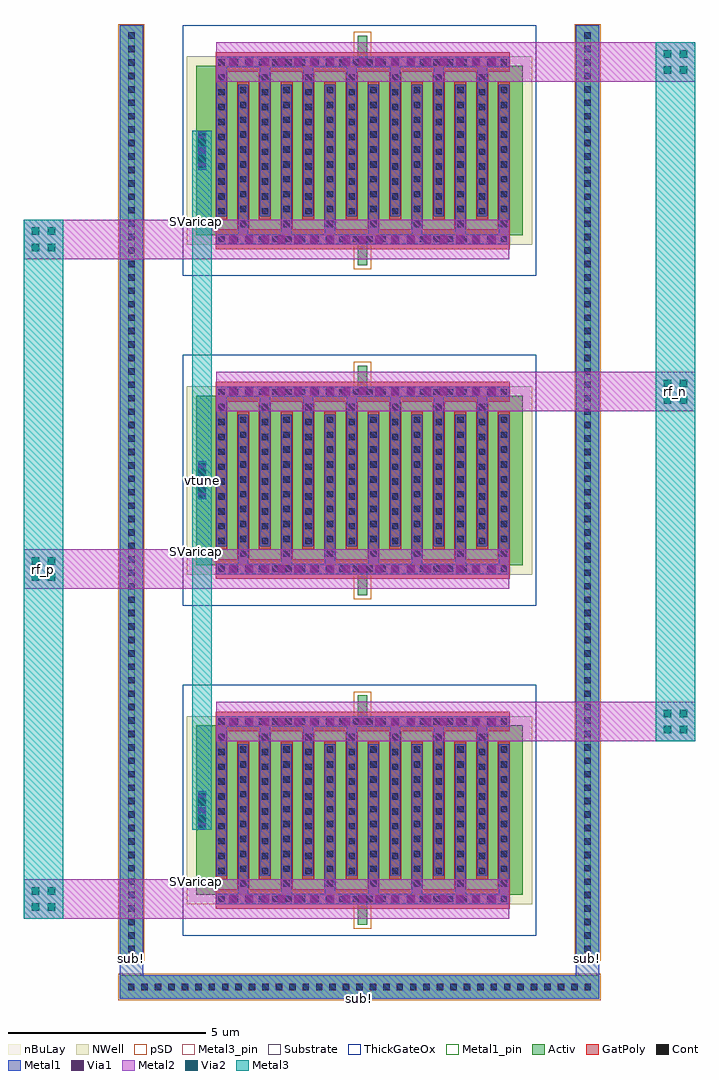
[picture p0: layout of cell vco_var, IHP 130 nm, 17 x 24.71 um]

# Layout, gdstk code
import gdstk
lib = gdstk.Library(unit=1e-6, precision=1e-09)
def R(c, l, rs):  # rectangles x0, y0, x1, y1
    for r in rs: c.add(gdstk.rectangle(r[:2], r[2:], *l))
def A(c, l, x, y, w, h, nx, ny, dx, dy):  # array of equal rectangles
    R(c, l, [(x+i*dx, y+j*dy, x+i*dx+w, y+j*dy+h) for i in range(nx) for j in range(ny)])
def P(c, l, *ps):  # polygons
    for p in ps: c.add(gdstk.Polygon(p, *l))
Activ = (1, 0)
GatPoly = (5, 0)
Cont = (6, 0)
Metal1 = (8, 0)
Metal1_pin = (8, 2)
Metal2 = (10, 0)
pSD = (14, 0)
Via1 = (19, 0)
Via2 = (29, 0)
Metal3 = (30, 0)
Metal3_pin = (30, 2)
NWell = (31, 0)
nBuLay = (32, 0)
Substrate = (40, 0)
ThickGateOx = (44, 0)

vco_var = lib.new_cell('vco_var')
A(vco_var, Activ, 0.24, 0.24, 8.27, 4.29, 1, 3, 0, 8.35)
R(vco_var, Activ, [(-1.7,-2.39,10.45,-1.79), (-1.7,-1.39,-1.1,22.26), (9.85,-1.39,10.45,22.26), (4.335,-0.52,4.575,0.24), (4.335,4.53,4.575,5.29), (4.335,7.83,4.575,8.59), (4.335,12.88,4.575,13.64), (4.335,16.18,4.575,16.94), (4.335,21.23,4.575,21.99)])
A(vco_var, GatPoly, 1.28, 0.39, 0.3, 3.74, 7, 3, 1.1, 8.35)
A(vco_var, GatPoly, 0.73, 0.64, 0.3, 3.74, 7, 3, 1.1, 8.35)
R(vco_var, GatPoly, [(0.73,-0.11,8.18,0.39), (0.73,4.38,8.18,4.88), (0.73,8.24,8.18,8.74), (0.73,12.73,8.18,13.23), (0.73,16.59,8.18,17.09), (0.73,21.08,8.18,21.58)])
A(vco_var, Cont, -1.485, -2.17, 0.16, 0.16, 35, 1, 0.34, 0)
A(vco_var, Cont, -1.48, -1.205, 0.16, 0.16, 1, 69, 0, 0.34)
A(vco_var, Cont, 10.07, -1.205, 0.16, 0.16, 1, 69, 0, 0.34)
A(vco_var, Cont, 0.8, 0.06, 0.16, 0.16, 11, 2, 0.34, 4.49)
A(vco_var, Cont, 4.545, 0.06, 0.16, 0.16, 10, 2, 0.34, 4.49)
A(vco_var, Cont, 1.35, 0.45, 0.16, 0.16, 7, 3, 1.1, 0.375)
A(vco_var, Cont, 0.8, 0.77, 0.16, 0.16, 7, 3, 1.1, 0.375)
A(vco_var, Cont, 1.35, 1.58, 0.16, 0.16, 7, 3, 1.1, 0.375)
A(vco_var, Cont, 0.8, 1.9, 0.16, 0.16, 7, 3, 1.1, 0.375)
A(vco_var, Cont, 0.31, 1.955, 0.16, 0.16, 1, 3, 0, 0.35)
A(vco_var, Cont, 1.35, 2.71, 0.16, 0.16, 7, 3, 1.1, 0.375)
A(vco_var, Cont, 0.8, 3.03, 0.16, 0.16, 7, 3, 1.1, 0.375)
A(vco_var, Cont, 1.35, 3.84, 0.16, 0.16, 7, 2, 1.1, 4.96)
A(vco_var, Cont, 0.8, 4.16, 0.16, 0.16, 7, 2, 1.1, 4.96)
A(vco_var, Cont, 0.8, 8.41, 0.16, 0.16, 11, 2, 0.34, 4.49)
A(vco_var, Cont, 4.545, 8.41, 0.16, 0.16, 10, 2, 0.34, 4.49)
A(vco_var, Cont, 1.35, 9.175, 0.16, 0.16, 7, 2, 1.1, 0.375)
A(vco_var, Cont, 0.8, 9.495, 0.16, 0.16, 7, 2, 1.1, 0.375)
A(vco_var, Cont, 1.35, 9.93, 0.16, 0.16, 7, 3, 1.1, 0.375)
A(vco_var, Cont, 0.8, 10.25, 0.16, 0.16, 7, 3, 1.1, 0.375)
A(vco_var, Cont, 0.31, 10.305, 0.16, 0.16, 1, 3, 0, 0.35)
A(vco_var, Cont, 1.35, 11.06, 0.16, 0.16, 7, 3, 1.1, 0.375)
A(vco_var, Cont, 0.8, 11.38, 0.16, 0.16, 7, 3, 1.1, 0.375)
A(vco_var, Cont, 1.35, 12.19, 0.16, 0.16, 7, 2, 1.1, 4.96)
A(vco_var, Cont, 0.8, 12.51, 0.16, 0.16, 7, 2, 1.1, 4.96)
A(vco_var, Cont, 0.8, 16.76, 0.16, 0.16, 11, 2, 0.34, 4.49)
A(vco_var, Cont, 4.545, 16.76, 0.16, 0.16, 10, 2, 0.34, 4.49)
A(vco_var, Cont, 1.35, 17.525, 0.16, 0.16, 7, 2, 1.1, 0.375)
A(vco_var, Cont, 0.8, 17.845, 0.16, 0.16, 7, 2, 1.1, 0.375)
A(vco_var, Cont, 1.35, 18.28, 0.16, 0.16, 7, 3, 1.1, 0.375)
A(vco_var, Cont, 0.8, 18.6, 0.16, 0.16, 7, 3, 1.1, 0.375)
A(vco_var, Cont, 0.31, 18.655, 0.16, 0.16, 1, 3, 0, 0.35)
A(vco_var, Cont, 1.35, 19.41, 0.16, 0.16, 7, 3, 1.1, 0.375)
A(vco_var, Cont, 0.8, 19.73, 0.16, 0.16, 7, 3, 1.1, 0.375)
A(vco_var, Cont, 1.35, 20.54, 0.16, 0.16, 7, 1, 1.1, 0)
A(vco_var, Cont, 0.8, 20.86, 0.16, 0.16, 7, 1, 1.1, 0)
R(vco_var, Cont, [(7.95,0.06,8.11,0.22), (7.95,4.55,8.11,4.71), (7.95,8.41,8.11,8.57), (7.95,12.9,8.11,13.06), (7.95,16.76,8.11,16.92), (7.95,21.25,8.11,21.41)])
P(vco_var, Metal1, [(0.29,1.905),(0.29,2.035),(0.285,2.035),(0.285,2.735),(0.29,2.735),(0.29,2.865),(0.49,2.865),(0.49,2.735),(0.495,2.735),(0.495,2.035),(0.49,2.035),(0.49,1.905)],
  [(0.75,0.01),(0.75,0.27),(1.3,0.27),(1.3,4.05),(1.56,4.05),(1.56,0.27),(2.4,0.27),(2.4,4.05),(2.66,4.05),(2.66,0.27),(3.5,0.27),(3.5,4.05),(3.76,4.05),(3.76,0.27),(4.6,0.27),(4.6,4.05),(4.86,4.05),(4.86,0.27),(5.7,0.27),(5.7,4.05),(5.96,4.05),(5.96,0.27),(6.8,0.27),(6.8,4.05),(7.06,4.05),(7.06,0.27),(7.9,0.27),(7.9,4.05),(8.16,4.05),(8.16,0.01)],
  [(0.75,0.72),(0.75,4.76),(8.16,4.76),(8.16,4.5),(7.61,4.5),(7.61,0.72),(7.35,0.72),(7.35,4.5),(6.51,4.5),(6.51,0.72),(6.25,0.72),(6.25,4.5),(5.41,4.5),(5.41,0.72),(5.15,0.72),(5.15,4.5),(4.31,4.5),(4.31,0.72),(4.05,0.72),(4.05,4.5),(3.21,4.5),(3.21,0.72),(2.95,0.72),(2.95,4.5),(2.11,4.5),(2.11,0.72),(1.85,0.72),(1.85,4.5),(1.01,4.5),(1.01,0.72)],
  [(0.29,10.255),(0.29,10.385),(0.285,10.385),(0.285,11.085),(0.29,11.085),(0.29,11.215),(0.49,11.215),(0.49,11.085),(0.495,11.085),(0.495,10.385),(0.49,10.385),(0.49,10.255)],
  [(0.75,8.36),(0.75,8.62),(1.3,8.62),(1.3,12.4),(1.56,12.4),(1.56,8.62),(2.4,8.62),(2.4,12.4),(2.66,12.4),(2.66,8.62),(3.5,8.62),(3.5,12.4),(3.76,12.4),(3.76,8.62),(4.6,8.62),(4.6,12.4),(4.86,12.4),(4.86,8.62),(5.7,8.62),(5.7,12.4),(5.96,12.4),(5.96,8.62),(6.8,8.62),(6.8,12.4),(7.06,12.4),(7.06,8.62),(7.9,8.62),(7.9,12.4),(8.16,12.4),(8.16,8.36)],
  [(0.75,9.07),(0.75,13.11),(8.16,13.11),(8.16,12.85),(7.61,12.85),(7.61,9.07),(7.35,9.07),(7.35,12.85),(6.51,12.85),(6.51,9.07),(6.25,9.07),(6.25,12.85),(5.41,12.85),(5.41,9.07),(5.15,9.07),(5.15,12.85),(4.31,12.85),(4.31,9.07),(4.05,9.07),(4.05,12.85),(3.21,12.85),(3.21,9.07),(2.95,9.07),(2.95,12.85),(2.11,12.85),(2.11,9.07),(1.85,9.07),(1.85,12.85),(1.01,12.85),(1.01,9.07)],
  [(0.29,18.605),(0.29,18.735),(0.285,18.735),(0.285,19.435),(0.29,19.435),(0.29,19.565),(0.49,19.565),(0.49,19.435),(0.495,19.435),(0.495,18.735),(0.49,18.735),(0.49,18.605)],
  [(0.75,16.71),(0.75,16.97),(1.3,16.97),(1.3,20.75),(1.56,20.75),(1.56,16.97),(2.4,16.97),(2.4,20.75),(2.66,20.75),(2.66,16.97),(3.5,16.97),(3.5,20.75),(3.76,20.75),(3.76,16.97),(4.6,16.97),(4.6,20.75),(4.86,20.75),(4.86,16.97),(5.7,16.97),(5.7,20.75),(5.96,20.75),(5.96,16.97),(6.8,16.97),(6.8,20.75),(7.06,20.75),(7.06,16.97),(7.9,16.97),(7.9,20.75),(8.16,20.75),(8.16,16.71)],
  [(0.75,17.42),(0.75,21.46),(8.16,21.46),(8.16,21.2),(7.61,21.2),(7.61,17.42),(7.35,17.42),(7.35,21.2),(6.51,21.2),(6.51,17.42),(6.25,17.42),(6.25,21.2),(5.41,21.2),(5.41,17.42),(5.15,17.42),(5.15,21.2),(4.31,21.2),(4.31,17.42),(4.05,17.42),(4.05,21.2),(3.21,21.2),(3.21,17.42),(2.95,17.42),(2.95,21.2),(2.11,21.2),(2.11,17.42),(1.85,17.42),(1.85,21.2),(1.01,21.2),(1.01,17.42)],
  [(-1.7,-2.39),(-1.7,22.26),(-1.1,22.26),(-1.1,-1.79),(9.85,-1.79),(9.85,22.26),(10.45,22.26),(10.45,-2.39)])
A(vco_var, Metal1_pin, 0.29, 1.915, 0.2, 0.94, 1, 3, 0, 8.35)
R(vco_var, Metal1_pin, [(-1.7,-2.39,10.45,-1.79), (-1.485,-2.17,10.235,-2.01), (-1.48,-1.205,-1.32,22.075), (10.07,-1.205,10.23,22.075), (0.75,0.01,8.16,0.27), (0.75,4.5,8.16,4.76), (0.75,8.36,8.16,8.62), (0.75,12.85,8.16,13.11), (0.75,16.71,8.16,16.97), (0.75,21.2,8.16,21.46)])
A(vco_var, Metal2, -4.125, -0.36, 12.285, 1, 1, 3, 0, 8.35)
A(vco_var, Metal2, 0.29, 2.02, 0.2, 0.73, 1, 3, 0, 8.35)
A(vco_var, Metal2, 0.75, 4.13, 12.125, 1, 1, 3, 0, 8.35)
R(vco_var, pSD, [(-1.73,-2.42,10.48,-1.76), (-1.73,-1.42,-1.07,22.29), (9.82,-1.42,10.48,22.29), (4.235,-0.62,4.675,0.14), (4.235,4.63,4.675,5.39), (4.235,7.73,4.675,8.49), (4.235,12.98,4.675,13.74), (4.235,16.08,4.675,16.84), (4.235,21.33,4.675,22.09)])
A(vco_var, Via1, 1.08, 0.045, 0.19, 0.19, 17, 2, 0.41, 4.49)
A(vco_var, Via1, 1.08, 8.395, 0.19, 0.19, 17, 2, 0.41, 4.49)
A(vco_var, Via1, 1.08, 16.745, 0.19, 0.19, 17, 2, 0.41, 4.49)
R(vco_var, Via1, [(0.295,2.085,0.485,2.275), (0.295,2.495,0.485,2.685), (0.295,10.435,0.485,10.625), (0.295,10.845,0.485,11.035), (0.295,18.785,0.485,18.975), (0.295,19.195,0.485,19.385)])
R(vco_var, Via2, [(-3.925,-0.16,-3.735,0.03), (-3.515,-0.16,-3.325,0.03), (-3.925,0.25,-3.735,0.44), (-3.515,0.25,-3.325,0.44), (0.295,2.085,0.485,2.275), (0.295,2.495,0.485,2.685), (12.075,4.33,12.265,4.52), (12.485,4.33,12.675,4.52), (12.075,4.74,12.265,4.93), (12.485,4.74,12.675,4.93), (-3.925,8.19,-3.735,8.38), (-3.515,8.19,-3.325,8.38), (-3.925,8.6,-3.735,8.79), (-3.515,8.6,-3.325,8.79), (0.295,10.435,0.485,10.625), (0.295,10.845,0.485,11.035), (12.075,12.68,12.265,12.87), (12.485,12.68,12.675,12.87), (12.075,13.09,12.265,13.28), (12.485,13.09,12.675,13.28), (-3.925,16.54,-3.735,16.73), (-3.515,16.54,-3.325,16.73), (-3.925,16.95,-3.735,17.14), (-3.515,16.95,-3.325,17.14), (0.295,18.785,0.485,18.975), (0.295,19.195,0.485,19.385), (12.075,21.03,12.265,21.22), (12.485,21.03,12.675,21.22), (12.075,21.44,12.265,21.63), (12.485,21.44,12.675,21.63)])
R(vco_var, Metal3, [(-4.125,-0.36,-3.125,17.34), (0.14,1.885,0.64,19.585), (11.875,4.13,12.875,21.83)])
R(vco_var, Metal3_pin, [(-4.125,-0.36,-3.125,17.34), (0.14,1.885,0.64,19.585), (11.875,4.13,12.875,21.83)])
A(vco_var, NWell, 0, 0, 8.75, 4.77, 1, 3, 0, 8.35)
A(vco_var, nBuLay, 0.24, 0.24, 8.27, 4.29, 1, 3, 0, 8.35)
R(vco_var, Substrate, [(-1.7,-2.39,10.45,-1.79), (-1.7,-1.39,-1.1,22.26), (9.85,-1.39,10.45,22.26)])
A(vco_var, ThickGateOx, -0.1, -0.79, 8.95, 6.35, 1, 3, 0, 8.35)
vco_var.add(gdstk.Label('SVaricap', (0.24,0.59), layer=63, texttype=0))
vco_var.add(gdstk.Label('SVaricap', (0.24,8.94), layer=63, texttype=0))
vco_var.add(gdstk.Label('SVaricap', (0.24,17.29), layer=63, texttype=0))
vco_var.add(gdstk.Label('sub!', (4.375,-2.38), layer=63, texttype=0))
vco_var.add(gdstk.Label('sub!', (-1.4,-1.38), layer=63, texttype=0))
vco_var.add(gdstk.Label('sub!', (10.15,-1.38), layer=63, texttype=0))
vco_var.add(gdstk.Label('rf_p', (-3.625,8.49), layer=30, texttype=25))
vco_var.add(gdstk.Label('rf_n', (12.375,12.98), layer=30, texttype=25))
vco_var.add(gdstk.Label('vtune', (0.39,10.735), layer=30, texttype=25))
vco_var.add(gdstk.Label('sub!', (4.375,-2.38), layer=40, texttype=0))
vco_var.add(gdstk.Label('sub!', (-1.4,-1.38), layer=40, texttype=0))
vco_var.add(gdstk.Label('sub!', (10.15,-1.38), layer=40, texttype=0))
vco_var.add(gdstk.Label('VSS', (4.375,-2.09), layer=8, texttype=25))

lib.write_gds('vco_var.gds')
